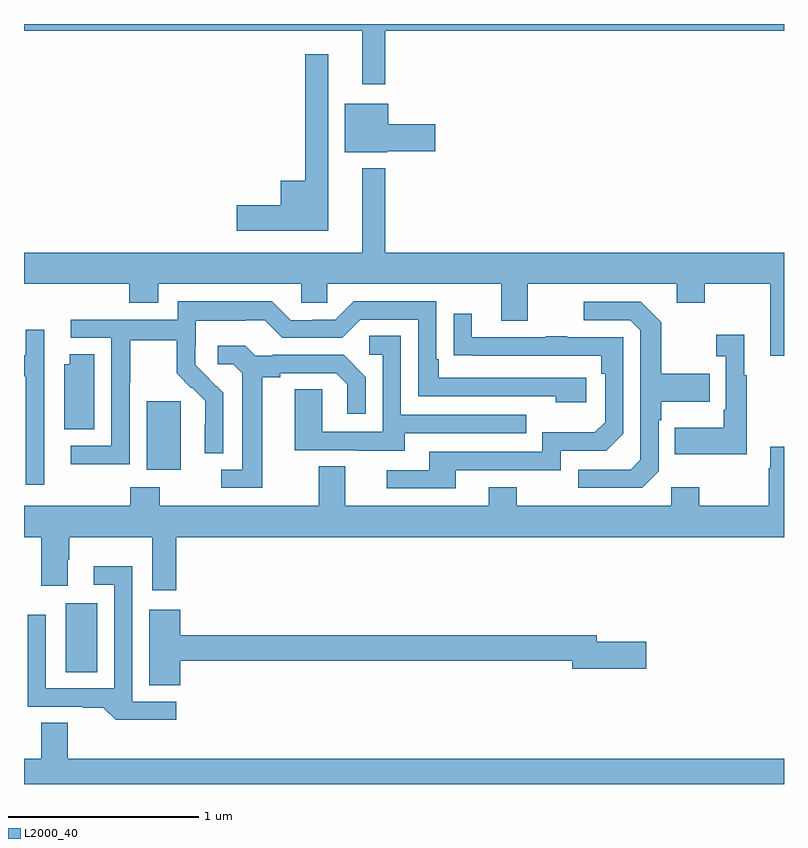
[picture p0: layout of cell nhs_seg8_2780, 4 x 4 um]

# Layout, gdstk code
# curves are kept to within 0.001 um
import gdstk
lib = gdstk.Library(unit=1e-6, precision=1e-09)
def R(c, l, rs):  # rectangles x0, y0, x1, y1
    for r in rs: c.add(gdstk.rectangle(r[:2], r[2:], *l))
def P(c, l, *ps):  # polygons
    for p in ps: c.add(gdstk.Polygon(p, *l))
L2000_40 = (2000, 40)

nhs_seg8_2780 = lib.new_cell('nhs_seg8_2780')
R(nhs_seg8_2780, L2000_40, [(287.219,1082.488,287.386,1082.851), (287.645,1083.554,287.824,1083.915)])
P(nhs_seg8_2780, L2000_40, [(288.901,1085.864),(291,1085.864),(291,1085.9),(287,1085.9),(287,1085.864),(288.779,1085.864),(288.779,1085.583),(288.901,1085.583)],
  [(288.601,1085.74),(288.48,1085.74),(288.48,1085.074),(288.35,1085.074),(288.35,1084.946),(288.12,1084.946),(288.12,1084.811),(288.601,1084.811)],
  [(288.912,1085.231),(289.165,1085.231),(289.165,1085.373),(288.916,1085.373),(288.916,1085.479),(288.689,1085.479),(288.689,1085.225),(288.912,1085.225)],
  [(291,1084.696),(288.901,1084.696),(288.901,1085.14),(288.779,1085.14),(288.779,1084.696),(287,1084.696),(287,1084.532),(287.555,1084.532),(287.555,1084.433),(287.707,1084.433),(287.707,1084.532),(288.459,1084.532),(288.459,1084.434),(288.597,1084.434),(288.597,1084.532),(289.511,1084.532),(289.511,1084.338),(289.651,1084.338),(289.651,1084.532),(290.435,1084.532),(290.435,1084.433),(290.583,1084.433),(290.583,1084.532),(290.927,1084.532),(290.927,1084.155),(291,1084.155)],
  [(287.556,1084.012),(287.559,1084.012),(287.559,1084.236),(287.803,1084.236),(287.803,1084.061),(287.88,1083.984),(287.883,1083.987),(287.954,1083.917),(287.954,1083.794),(287.952,1083.794),(287.952,1083.64),(288.048,1083.64),(288.048,1083.958),(287.902,1084.106),(287.902,1084.203),(287.904,1084.203),(287.904,1084.337),(288.167,1084.337),(288.167,1084.341),(288.267,1084.341),(288.36,1084.248),(288.675,1084.248),(288.771,1084.344),(289.074,1084.344),(289.074,1083.942),(289.799,1083.942),(289.799,1083.908),(289.96,1083.908),(289.96,1084.038),(289.183,1084.038),(289.183,1084.135),(289.17,1084.135),(289.17,1084.44),(288.735,1084.44),(288.639,1084.344),(288.521,1084.344),(288.521,1084.341),(288.405,1084.341),(288.305,1084.441),(287.808,1084.441),(287.808,1084.344),(287.247,1084.344),(287.247,1084.248),(287.46,1084.248),(287.46,1083.681),(287.247,1083.681),(287.247,1083.583),(287.556,1083.583)],
  [(290.34,1083.546),(290.34,1083.815),(290.353,1083.815),(290.353,1083.911),(290.609,1083.911),(290.609,1084.059),(290.353,1084.059),(290.353,1084.331),(290.247,1084.437),(289.947,1084.437),(289.947,1084.341),(290.19,1084.341),(290.244,1084.287),(290.244,1083.606),(290.193,1083.555),(289.917,1083.555),(289.917,1083.459),(290.253,1083.459)],
  [(289.273,1083.552),(289.824,1083.552),(289.824,1083.654),(290.064,1083.654),(290.154,1083.744),(290.154,1084.251),(289.859,1084.251),(289.859,1084.256),(289.747,1084.256),(289.747,1084.251),(289.357,1084.251),(289.357,1084.375),(289.261,1084.375),(289.261,1084.156),(290.038,1084.155),(290.038,1084.058),(290.058,1084.058),(290.058,1083.804),(290.005,1083.751),(289.728,1083.751),(289.728,1083.648),(289.133,1083.648),(289.133,1083.552),(288.909,1083.552),(288.909,1083.456),(289.273,1083.456)],
  [(287.106,1084.291),(287.009,1084.291),(287.009,1084.156),(287,1084.156),(287,1084.047),(287.01,1084.047),(287.01,1083.474),(287.106,1083.474)],
  [(290.803,1084.051),(290.791,1084.051),(290.791,1084.264),(290.643,1084.264),(290.643,1084.151),(290.694,1084.151),(290.694,1083.871),(290.682,1083.871),(290.682,1083.775),(290.425,1083.775),(290.425,1083.635),(290.803,1083.635)],
  [(289.003,1083.747),(289.643,1083.747),(289.643,1083.843),(288.984,1083.843),(288.984,1084.259),(288.816,1084.259),(288.816,1084.158),(288.888,1084.158),(288.888,1083.753),(288.57,1083.753),(288.57,1083.977),(288.425,1083.977),(288.425,1083.657),(288.749,1083.657),(288.749,1083.653),(289.003,1083.653)],
  [(288.253,1084.04),(288.349,1084.04),(288.349,1084.062),(288.644,1084.062),(288.701,1084.005),(288.701,1083.849),(288.798,1083.849),(288.798,1084.042),(288.682,1084.158),(288.31,1084.158),(288.31,1084.155),(288.216,1084.155),(288.164,1084.207),(288.021,1084.207),(288.021,1084.11),(288.102,1084.11),(288.149,1084.063),(288.149,1083.555),(288.039,1083.555),(288.039,1083.459),(288.253,1083.459)],
  [(287.371,1084.163),(287.24,1084.163),(287.24,1084.11),(287.213,1084.11),(287.213,1083.766),(287.371,1083.766)],
  [(287.801,1083.2),(291,1083.2),(291,1083.676),(290.927,1083.676),(290.927,1083.563),(290.92,1083.563),(290.92,1083.364),(290.553,1083.364),(290.553,1083.463),(290.406,1083.463),(290.406,1083.364),(289.593,1083.364),(289.593,1083.463),(289.445,1083.463),(289.445,1083.364),(288.691,1083.364),(288.691,1083.572),(288.551,1083.572),(288.551,1083.364),(287.715,1083.364),(287.715,1083.463),(287.56,1083.463),(287.56,1083.364),(287,1083.364),(287,1083.2),(287.09,1083.2),(287.09,1082.943),(287.23,1082.943),(287.23,1083.08),(287.238,1083.08),(287.238,1083.2),(287.675,1083.2),(287.675,1082.919),(287.801,1082.919)],
  [(287.8,1082.334),(287.571,1082.334),(287.571,1083.046),(287.367,1083.046),(287.367,1082.949),(287.475,1082.949),(287.475,1082.403),(287.115,1082.403),(287.115,1082.791),(287.019,1082.791),(287.019,1082.307),(287.309,1082.307),(287.309,1082.302),(287.417,1082.302),(287.483,1082.237),(287.8,1082.237)],
  [(287.822,1082.548),(289.886,1082.548),(289.886,1082.506),(290.275,1082.506),(290.275,1082.648),(290.014,1082.648),(290.014,1082.684),(287.822,1082.684),(287.822,1082.818),(287.66,1082.818),(287.66,1082.419),(287.822,1082.419)],
  [(291,1082.032),(287.23,1082.032),(287.23,1082.222),(287.09,1082.222),(287.09,1082.032),(287,1082.032),(287,1081.9),(291,1081.9)])

lib.write_gds('nhs_seg8_2780.gds')
